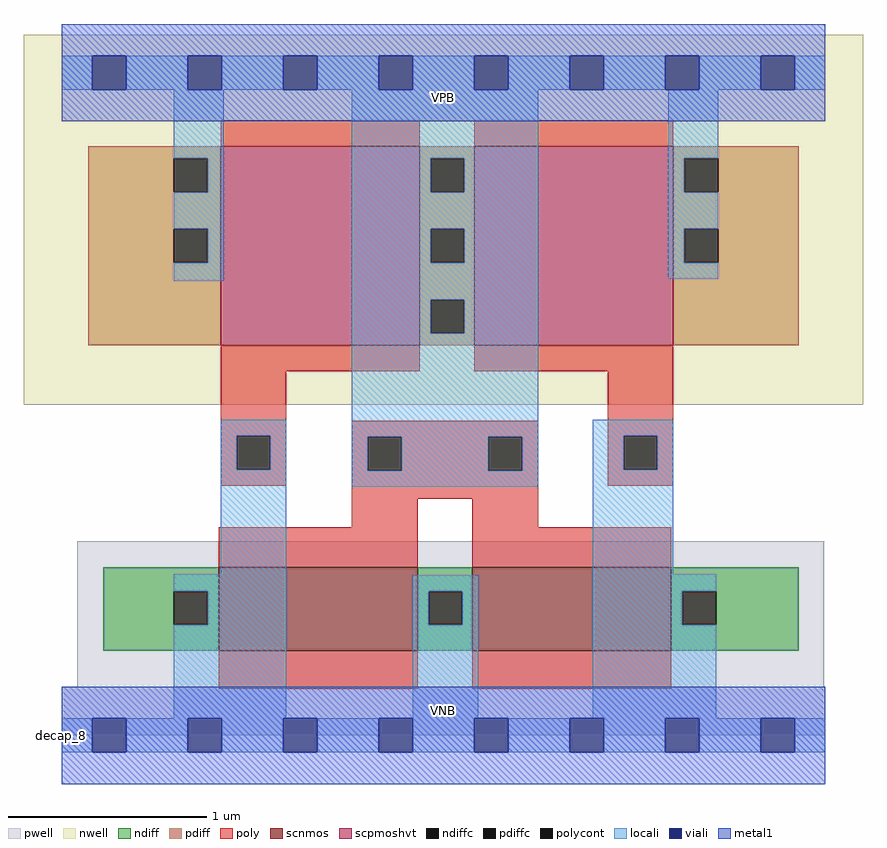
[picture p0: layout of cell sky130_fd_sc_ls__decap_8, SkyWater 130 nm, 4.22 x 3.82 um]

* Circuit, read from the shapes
.subckt sky130_fd_sc_ls__decap_8 VGND VNB VPB VPWR
XM1 VGND VPWR VGND VNB sky130_fd_pr__nfet_01v8 w=0.42 l=1 m=2
XM2 VPWR VGND VPWR VPB sky130_fd_pr__pfet_01v8_hvt w=1 l=1 m=2
.ends

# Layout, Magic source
magic
tech sky130A
magscale 1 2
<< nwell >>
rect -38 332 806 704
<< pwell >>
rect 16 49 767 195
rect 0 0 768 49
<< scnmos >>
rect 158 85 358 169
rect 413 85 613 169
<< scpmoshvt >>
rect 160 392 360 592
rect 415 392 615 592
<< ndiff >>
rect 42 145 158 169
rect 42 111 113 145
rect 147 111 158 145
rect 42 85 158 111
rect 358 145 413 169
rect 358 111 369 145
rect 403 111 413 145
rect 358 85 413 111
rect 613 145 741 169
rect 613 111 624 145
rect 658 111 741 145
rect 613 85 741 111
<< pdiff >>
rect 27 580 160 592
rect 27 546 113 580
rect 147 546 160 580
rect 27 509 160 546
rect 27 475 113 509
rect 147 475 160 509
rect 27 392 160 475
rect 360 580 415 592
rect 360 546 371 580
rect 405 546 415 580
rect 360 509 415 546
rect 360 475 371 509
rect 405 475 415 509
rect 360 438 415 475
rect 360 404 371 438
rect 405 404 415 438
rect 360 392 415 404
rect 615 580 741 592
rect 615 546 626 580
rect 660 546 741 580
rect 615 509 741 546
rect 615 475 626 509
rect 660 475 741 509
rect 615 392 741 475
<< ndiffc >>
rect 113 111 147 145
rect 369 111 403 145
rect 624 111 658 145
<< pdiffc >>
rect 113 546 147 580
rect 113 475 147 509
rect 371 546 405 580
rect 371 475 405 509
rect 371 404 405 438
rect 626 546 660 580
rect 626 475 660 509
<< poly >>
rect 160 592 360 618
rect 415 592 615 618
rect 160 366 360 392
rect 415 366 615 392
rect 160 301 226 366
rect 160 267 176 301
rect 210 267 226 301
rect 160 251 226 267
rect 292 300 479 316
rect 292 266 308 300
rect 342 266 429 300
rect 463 266 479 300
rect 292 238 479 266
rect 549 301 615 366
rect 549 267 565 301
rect 599 267 615 301
rect 549 251 615 267
rect 292 209 358 238
rect 158 169 358 209
rect 413 209 479 238
rect 413 169 613 209
rect 158 47 358 85
rect 413 47 613 85
<< polycont >>
rect 176 267 210 301
rect 308 266 342 300
rect 429 266 463 300
rect 565 267 599 301
<< locali >>
rect 0 649 31 683
rect 65 649 127 683
rect 161 649 223 683
rect 257 649 319 683
rect 353 649 415 683
rect 449 649 511 683
rect 545 649 607 683
rect 641 649 703 683
rect 737 649 768 683
rect 113 580 163 649
rect 147 546 163 580
rect 113 509 163 546
rect 147 475 163 509
rect 113 457 163 475
rect 292 580 479 649
rect 292 546 371 580
rect 405 546 479 580
rect 292 509 479 546
rect 292 475 371 509
rect 405 475 479 509
rect 292 438 479 475
rect 610 580 660 649
rect 610 546 626 580
rect 610 509 660 546
rect 610 475 626 509
rect 610 459 660 475
rect 292 404 371 438
rect 405 404 479 438
rect 160 301 226 317
rect 160 267 176 301
rect 210 267 226 301
rect 160 162 226 267
rect 292 300 479 404
rect 292 266 308 300
rect 342 266 429 300
rect 463 266 479 300
rect 292 250 479 266
rect 534 301 615 317
rect 534 267 565 301
rect 599 267 615 301
rect 113 145 226 162
rect 534 162 615 267
rect 147 111 226 145
rect 113 17 226 111
rect 353 145 419 161
rect 353 111 369 145
rect 403 111 419 145
rect 353 17 419 111
rect 534 145 658 162
rect 534 111 624 145
rect 534 17 658 111
rect 0 -17 31 17
rect 65 -17 127 17
rect 161 -17 223 17
rect 257 -17 319 17
rect 353 -17 415 17
rect 449 -17 511 17
rect 545 -17 607 17
rect 641 -17 703 17
rect 737 -17 768 17
<< viali >>
rect 31 649 65 683
rect 127 649 161 683
rect 223 649 257 683
rect 319 649 353 683
rect 415 649 449 683
rect 511 649 545 683
rect 607 649 641 683
rect 703 649 737 683
rect 31 -17 65 17
rect 127 -17 161 17
rect 223 -17 257 17
rect 319 -17 353 17
rect 415 -17 449 17
rect 511 -17 545 17
rect 607 -17 641 17
rect 703 -17 737 17
<< metal1 >>
rect 0 683 768 715
rect 0 649 31 683
rect 65 649 127 683
rect 161 649 223 683
rect 257 649 319 683
rect 353 649 415 683
rect 449 649 511 683
rect 545 649 607 683
rect 641 649 703 683
rect 737 649 768 683
rect 0 617 768 649
rect 0 17 768 49
rect 0 -17 31 17
rect 65 -17 127 17
rect 161 -17 223 17
rect 257 -17 319 17
rect 353 -17 415 17
rect 449 -17 511 17
rect 545 -17 607 17
rect 641 -17 703 17
rect 737 -17 768 17
rect 0 -49 768 -17
<< labels >>
rlabel comment s 0 0 0 0 4 decap_8
flabel pwell s 0 0 768 49 0 FreeSans 200 0 0 0 VNB
port 2 nsew ground bidirectional
flabel nwell s 0 617 768 666 0 FreeSans 200 0 0 0 VPB
port 3 nsew power bidirectional
flabel metal1 s 0 0 768 49 0 FreeSans 340 0 0 0 VGND
port 1 nsew ground bidirectional abutment
flabel metal1 s 0 617 768 666 0 FreeSans 340 0 0 0 VPWR
port 4 nsew power bidirectional abutment
<< properties >>
string LEFsite unit
string LEFclass CORE
string FIXED_BBOX 0 0 768 666
string GDS_FILE $PDKPATH/libs.ref/sky130_fd_sc_ls/gds/sky130_fd_sc_ls.gds
string LEFsymmetry X Y
string GDS_END 3027808
string GDS_START 3023954
<< end >>
